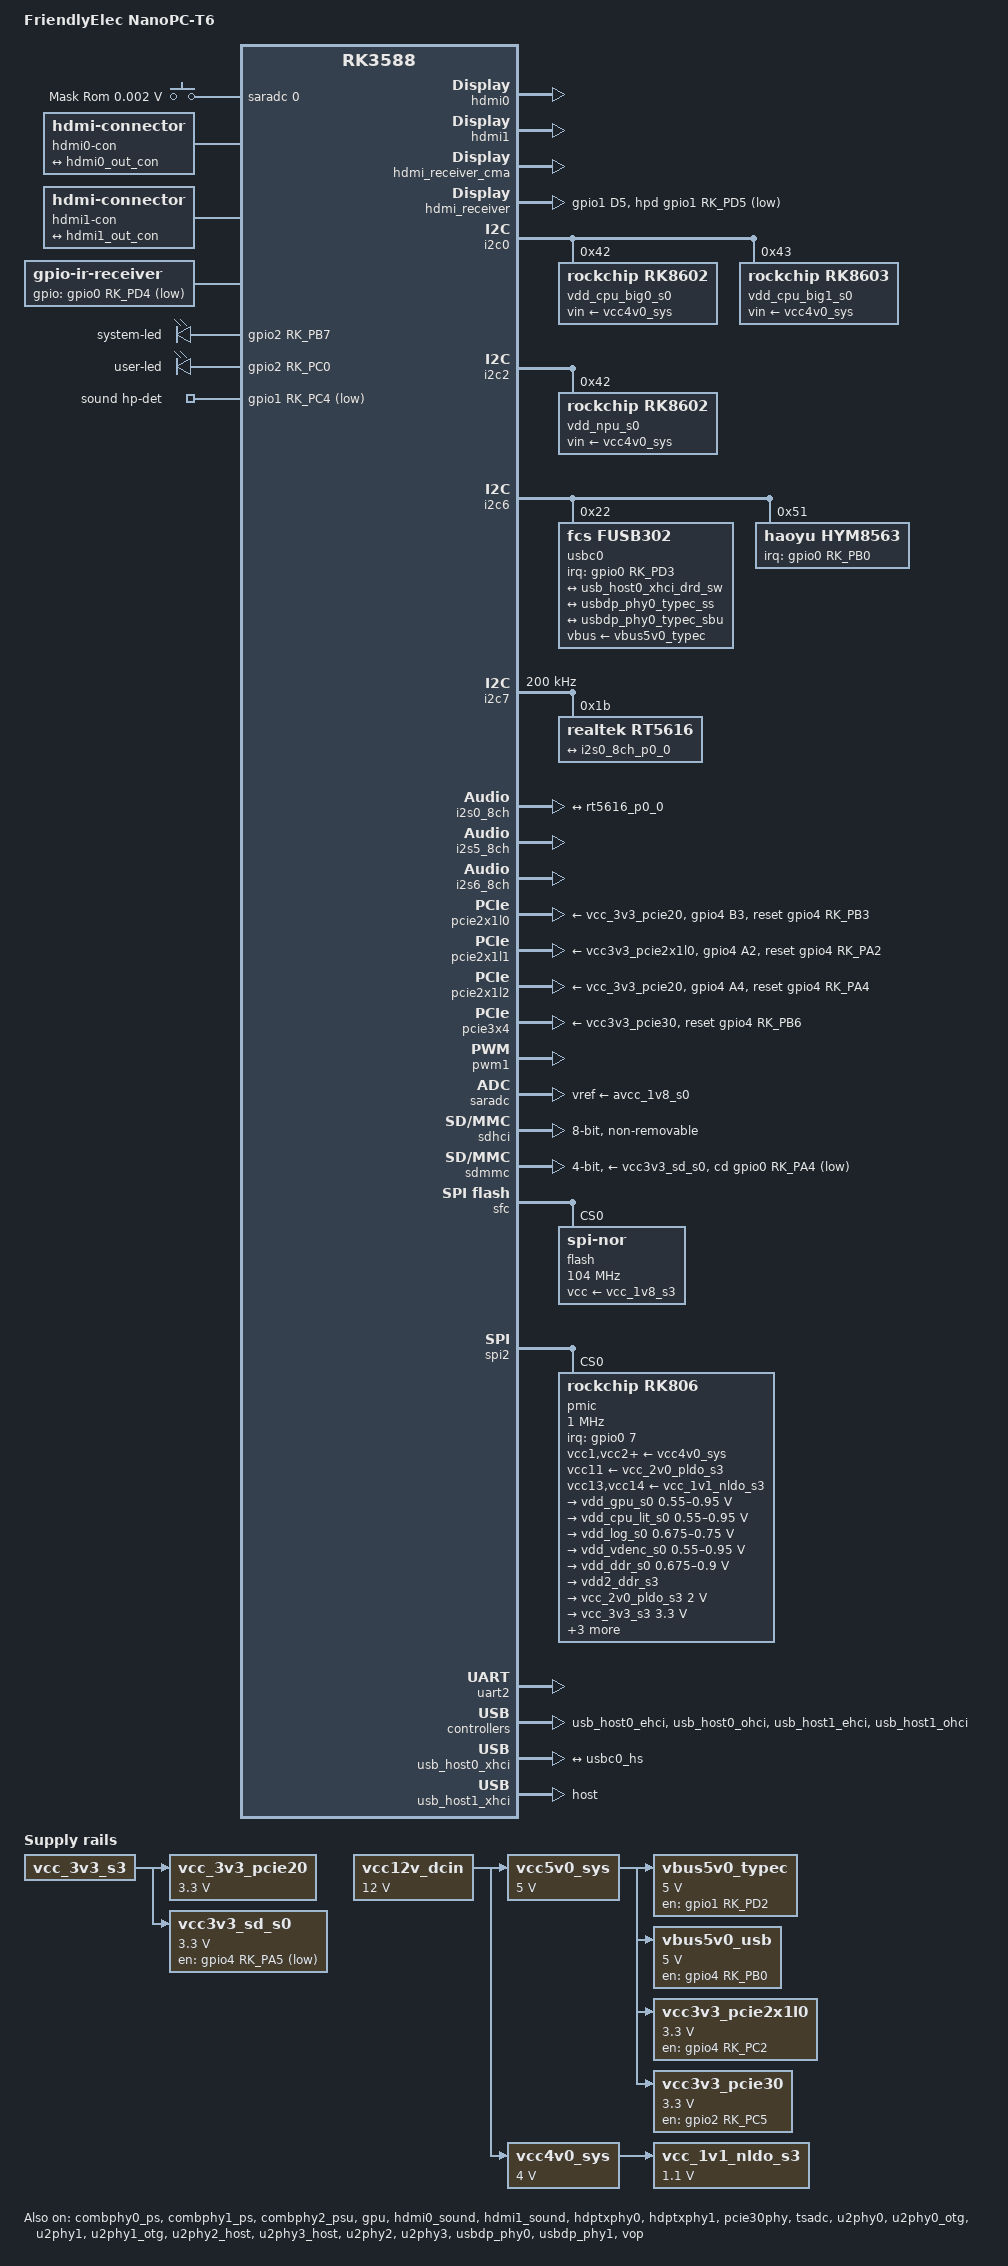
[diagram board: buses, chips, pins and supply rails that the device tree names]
// SPDX-License-Identifier: (GPL-2.0+ OR MIT)
/*
 * Copyright (c) 2021 Rockchip Electronics Co., Ltd.
 * Copyright (c) 2023 Thomas McKahan
 *
 */

/dts-v1/;

#include <dt-bindings/gpio/gpio.h>
#include <dt-bindings/input/input.h>
#include <dt-bindings/pinctrl/rockchip.h>
#include <dt-bindings/soc/rockchip,vop2.h>
#include <dt-bindings/usb/pd.h>
#include "rk3588.dtsi"

/ {
	model = "FriendlyElec NanoPC-T6";
	compatible = "friendlyarm,nanopc-t6", "rockchip,rk3588";

	aliases {
		mmc0 = &sdhci;
		mmc1 = &sdmmc;
	};

	adc-keys-0 {
		compatible = "adc-keys";
		io-channels = <&saradc 0>;
		io-channel-names = "buttons";
		keyup-threshold-microvolt = <1800000>;
		poll-interval = <100>;

		button-maskrom {
			label = "Mask Rom";
			linux,code = <KEY_SETUP>;
			press-threshold-microvolt = <2000>;
		};
	};

	chosen {
		stdout-path = "serial2:1500000n8";
	};

	hdmi0-con {
		compatible = "hdmi-connector";
		type = "a";

		port {
			hdmi0_con_in: endpoint {
				remote-endpoint = <&hdmi0_out_con>;
			};
		};
	};

	hdmi1-con {
		compatible = "hdmi-connector";
		type = "a";

		port {
			hdmi1_con_in: endpoint {
				remote-endpoint = <&hdmi1_out_con>;
			};
		};
	};

	ir-receiver {
		compatible = "gpio-ir-receiver";
		gpios = <&gpio0 RK_PD4 GPIO_ACTIVE_LOW>;
		pinctrl-names = "default";
		pinctrl-0 = <&ir_receiver_pin>;
	};

	leds {
		compatible = "gpio-leds";

		sys_led: led-0 {
			gpios = <&gpio2 RK_PB7 GPIO_ACTIVE_HIGH>;
			label = "system-led";
			linux,default-trigger = "heartbeat";
			pinctrl-names = "default";
			pinctrl-0 = <&sys_led_pin>;
		};

		usr_led: led-1 {
			gpios = <&gpio2 RK_PC0 GPIO_ACTIVE_HIGH>;
			label = "user-led";
			pinctrl-names = "default";
			pinctrl-0 = <&usr_led_pin>;
		};
	};

	sound {
		compatible = "simple-audio-card";
		pinctrl-names = "default";
		pinctrl-0 = <&hp_det>;

		simple-audio-card,name = "realtek,rt5616-codec";
		simple-audio-card,format = "i2s";
		simple-audio-card,mclk-fs = <256>;

		simple-audio-card,hp-det-gpios = <&gpio1 RK_PC4 GPIO_ACTIVE_LOW>;

		simple-audio-card,widgets =
			"Headphone", "Headphones",
			"Microphone", "Microphone Jack";
		simple-audio-card,routing =
			"Headphones", "HPOL",
			"Headphones", "HPOR",
			"MIC1", "Microphone Jack",
			"Microphone Jack", "micbias1";

		simple-audio-card,cpu {
			sound-dai = <&i2s0_8ch>;
		};
		simple-audio-card,codec {
			sound-dai = <&rt5616>;
		};
	};

	vcc12v_dcin: regulator-vcc12v-dcin {
		compatible = "regulator-fixed";
		regulator-name = "vcc12v_dcin";
		regulator-always-on;
		regulator-boot-on;
		regulator-min-microvolt = <12000000>;
		regulator-max-microvolt = <12000000>;
	};

	/* vcc5v0_sys powers peripherals */
	vcc5v0_sys: regulator-vcc5v0-sys {
		compatible = "regulator-fixed";
		regulator-name = "vcc5v0_sys";
		regulator-always-on;
		regulator-boot-on;
		regulator-min-microvolt = <5000000>;
		regulator-max-microvolt = <5000000>;
		vin-supply = <&vcc12v_dcin>;
	};

	/* vcc4v0_sys powers the RK806, RK860's */
	vcc4v0_sys: regulator-vcc4v0-sys {
		compatible = "regulator-fixed";
		regulator-name = "vcc4v0_sys";
		regulator-always-on;
		regulator-boot-on;
		regulator-min-microvolt = <4000000>;
		regulator-max-microvolt = <4000000>;
		vin-supply = <&vcc12v_dcin>;
	};

	vcc_1v1_nldo_s3: regulator-vcc-1v1-nldo-s3 {
		compatible = "regulator-fixed";
		regulator-name = "vcc-1v1-nldo-s3";
		regulator-always-on;
		regulator-boot-on;
		regulator-min-microvolt = <1100000>;
		regulator-max-microvolt = <1100000>;
		vin-supply = <&vcc4v0_sys>;
	};

	vcc_3v3_pcie20: regulator-vcc3v3-pcie20 {
		compatible = "regulator-fixed";
		regulator-name = "vcc_3v3_pcie20";
		regulator-always-on;
		regulator-boot-on;
		regulator-min-microvolt = <3300000>;
		regulator-max-microvolt = <3300000>;
		vin-supply = <&vcc_3v3_s3>;
	};

	vbus5v0_typec: regulator-vbus5v0-typec {
		compatible = "regulator-fixed";
		enable-active-high;
		gpio = <&gpio1 RK_PD2 GPIO_ACTIVE_HIGH>;
		pinctrl-names = "default";
		pinctrl-0 = <&typec5v_pwren>;
		regulator-name = "vbus5v0_typec";
		regulator-min-microvolt = <5000000>;
		regulator-max-microvolt = <5000000>;
		vin-supply = <&vcc5v0_sys>;
	};

	vbus5v0_usb: regulator-vbus5v0-usb {
		compatible = "regulator-fixed";
		enable-active-high;
		gpio = <&gpio4 RK_PB0 GPIO_ACTIVE_HIGH>;
		pinctrl-names = "default";
		pinctrl-0 = <&usb5v_pwren>;
		regulator-name = "vbus5v0_usb";
		regulator-min-microvolt = <5000000>;
		regulator-max-microvolt = <5000000>;
		vin-supply = <&vcc5v0_sys>;
	};

	vcc3v3_pcie2x1l0: regulator-vcc3v3-pcie2x1l0 {
		compatible = "regulator-fixed";
		enable-active-high;
		gpio = <&gpio4 RK_PC2 GPIO_ACTIVE_HIGH>;
		pinctrl-names = "default";
		pinctrl-0 = <&pcie_m2_1_pwren>;
		regulator-name = "vcc3v3_pcie2x1l0";
		regulator-min-microvolt = <3300000>;
		regulator-max-microvolt = <3300000>;
		vin-supply = <&vcc5v0_sys>;
	};

	vcc3v3_pcie30: regulator-vcc3v3-pcie30 {
		compatible = "regulator-fixed";
		enable-active-high;
		gpios = <&gpio2 RK_PC5 GPIO_ACTIVE_HIGH>;
		pinctrl-names = "default";
		pinctrl-0 = <&pcie_m2_0_pwren>;
		regulator-name = "vcc3v3_pcie30";
		regulator-min-microvolt = <3300000>;
		regulator-max-microvolt = <3300000>;
		vin-supply = <&vcc5v0_sys>;
	};

	vcc3v3_sd_s0: regulator-vcc3v3-sd-s0 {
		compatible = "regulator-fixed";
		gpio = <&gpio4 RK_PA5 GPIO_ACTIVE_LOW>;
		regulator-boot-on;
		regulator-max-microvolt = <3300000>;
		regulator-min-microvolt = <3300000>;
		regulator-name = "vcc3v3_sd_s0";
		vin-supply = <&vcc_3v3_s3>;
	};
};

&combphy0_ps {
	status = "okay";
};

&combphy1_ps {
	status = "okay";
};

&combphy2_psu {
	status = "okay";
};

&cpu_l0 {
	cpu-supply = <&vdd_cpu_lit_s0>;
};

&cpu_l1 {
	cpu-supply = <&vdd_cpu_lit_s0>;
};

&cpu_l2 {
	cpu-supply = <&vdd_cpu_lit_s0>;
};

&cpu_l3 {
	cpu-supply = <&vdd_cpu_lit_s0>;
};

&cpu_b0 {
	cpu-supply = <&vdd_cpu_big0_s0>;
};

&cpu_b1 {
	cpu-supply = <&vdd_cpu_big0_s0>;
};

&cpu_b2 {
	cpu-supply = <&vdd_cpu_big1_s0>;
};

&cpu_b3 {
	cpu-supply = <&vdd_cpu_big1_s0>;
};

&gpio0 {
	gpio-line-names = /* GPIO0 A0-A7 */
			  "", "", "", "",
			  "", "", "", "",
			  /* GPIO0 B0-B7 */
			  "", "", "", "",
			  "", "", "", "",
			  /* GPIO0 C0-C7 */
			  "", "", "", "",
			  "HEADER_10", "HEADER_08", "HEADER_32", "",
			  /* GPIO0 D0-D7 */
			  "", "", "", "",
			  "IR receiver [PWM3_IR_M0]", "", "", "";
};

&gpio1 {
	gpio-line-names = /* GPIO1 A0-A7 */
			  "HEADER_27", "HEADER_28", "", "",
			  "", "", "", "HEADER_15",
			  /* GPIO1 B0-B7 */
			  "HEADER_26", "HEADER_21", "HEADER_19", "HEADER_23",
			  "HEADER_24", "HEADER_22", "", "",
			  /* GPIO1 C0-C7 */
			  "", "", "", "",
			  "", "", "", "",
			  /* GPIO1 D0-D7 */
			  "", "", "", "",
			  "", "", "HEADER_05", "HEADER_03";
};

&gpio2 {
	gpio-line-names = /* GPIO2 A0-A7 */
			  "", "", "", "",
			  "", "", "", "",
			  /* GPIO2 B0-B7 */
			  "", "", "", "",
			  "", "", "", "",
			  /* GPIO2 C0-C7 */
			  "", "CSI1_11", "CSI1_12", "",
			  "", "", "", "",
			  /* GPIO2 D0-D7 */
			  "", "", "", "",
			  "", "", "", "";
};

&gpio3 {
	gpio-line-names = /* GPIO3 A0-A7 */
			  "HEADER_35", "HEADER_38", "HEADER_40", "HEADER_36",
			  "HEADER_37", "", "DSI0_12", "",
			  /* GPIO3 B0-B7 */
			  "HEADER_33", "DSI0_10", "HEADER_07", "HEADER_16",
			  "HEADER_18", "HEADER_29", "HEADER_31", "HEADER_12",
			  /* GPIO3 C0-C7 */
			  "DSI0_08", "DSI0_14", "HEADER_11", "HEADER_13",
			  "", "", "", "",
			  /* GPIO3 D0-D7 */
			  "", "", "", "",
			  "", "DSI1_10", "", "";
};

&gpio4 {
	gpio-line-names = /* GPIO4 A0-A7 */
			  "DSI1_08", "DSI1_14", "", "DSI1_12",
			  "", "", "", "",
			  /* GPIO4 B0-B7 */
			  "", "", "", "",
			  "", "", "", "",
			  /* GPIO4 C0-C7 */
			  "", "", "", "",
			  "CSI0_11", "CSI0_12", "", "",
			  /* GPIO4 D0-D7 */
			  "", "", "", "",
			  "", "", "", "";
};

&gpu {
	mali-supply = <&vdd_gpu_s0>;
	status = "okay";
};

&hdmi0 {
	status = "okay";
};

&hdmi0_in {
	hdmi0_in_vp0: endpoint {
		remote-endpoint = <&vp0_out_hdmi0>;
	};
};

&hdmi0_out {
	hdmi0_out_con: endpoint {
		remote-endpoint = <&hdmi0_con_in>;
	};
};

&hdmi0_sound {
	status = "okay";
};

&hdmi1 {
	status = "okay";
};

&hdmi1_in {
	hdmi1_in_vp1: endpoint {
		remote-endpoint = <&vp1_out_hdmi1>;
	};
};

&hdmi1_out {
	hdmi1_out_con: endpoint {
		remote-endpoint = <&hdmi1_con_in>;
	};
};

&hdmi1_sound {
	status = "okay";
};

&hdmi_receiver_cma {
	status = "okay";
};

&hdmi_receiver {
	hpd-gpios = <&gpio1 RK_PD5 GPIO_ACTIVE_LOW>;
	pinctrl-0 = <&hdmim1_rx_cec &hdmim1_rx_hpdin &hdmim1_rx_scl &hdmim1_rx_sda &hdmirx_hpd>;
	pinctrl-names = "default";
	status = "okay";
};

&hdptxphy0 {
	status = "okay";
};

&hdptxphy1 {
	status = "okay";
};

&i2c0 {
	pinctrl-names = "default";
	pinctrl-0 = <&i2c0m2_xfer>;
	status = "okay";

	vdd_cpu_big0_s0: regulator@42 {
		compatible = "rockchip,rk8602";
		reg = <0x42>;
		fcs,suspend-voltage-selector = <1>;
		regulator-name = "vdd_cpu_big0_s0";
		regulator-always-on;
		regulator-boot-on;
		regulator-min-microvolt = <550000>;
		regulator-max-microvolt = <1050000>;
		regulator-ramp-delay = <2300>;
		vin-supply = <&vcc4v0_sys>;

		regulator-state-mem {
			regulator-off-in-suspend;
		};
	};

	vdd_cpu_big1_s0: regulator@43 {
		compatible = "rockchip,rk8603", "rockchip,rk8602";
		reg = <0x43>;
		fcs,suspend-voltage-selector = <1>;
		regulator-name = "vdd_cpu_big1_s0";
		regulator-always-on;
		regulator-boot-on;
		regulator-min-microvolt = <550000>;
		regulator-max-microvolt = <1050000>;
		regulator-ramp-delay = <2300>;
		vin-supply = <&vcc4v0_sys>;

		regulator-state-mem {
			regulator-off-in-suspend;
		};
	};
};

&i2c2 {
	status = "okay";

	vdd_npu_s0: regulator@42 {
		compatible = "rockchip,rk8602";
		reg = <0x42>;
		fcs,suspend-voltage-selector = <1>;
		regulator-name = "vdd_npu_s0";
		regulator-always-on;
		regulator-boot-on;
		regulator-min-microvolt = <550000>;
		regulator-max-microvolt = <950000>;
		regulator-ramp-delay = <2300>;
		vin-supply = <&vcc4v0_sys>;

		regulator-state-mem {
			regulator-off-in-suspend;
		};
	};
};

&i2c6 {
	status = "okay";

	usbc0: usb-typec@22 {
		compatible = "fcs,fusb302";
		reg = <0x22>;
		interrupt-parent = <&gpio0>;
		interrupts = <RK_PD3 IRQ_TYPE_LEVEL_LOW>;
		pinctrl-names = "default";
		pinctrl-0 = <&usbc0_int>;
		vbus-supply = <&vbus5v0_typec>;
		status = "okay";

		connector {
			compatible = "usb-c-connector";
			data-role = "dual";
			label = "USB-C";
			op-sink-microwatt = <1000000>;
			/* fusb302 supports PD Rev 2.0 Ver 1.2 */
			pd-revision = /bits/ 8 <0x2 0x0 0x1 0x2>;
			power-role = "dual";
			sink-pdos = <PDO_FIXED(5000, 3000, PDO_FIXED_USB_COMM)>;
			source-pdos = <PDO_FIXED(5000, 2000, PDO_FIXED_USB_COMM)>;
			try-power-role = "source";
			typec-power-opmode = "1.5A";

			ports {
				#address-cells = <1>;
				#size-cells = <0>;

				port@0 {
					reg = <0>;
					usbc0_hs: endpoint {
						remote-endpoint = <&usb_host0_xhci_drd_sw>;
					};
				};

				port@1 {
					reg = <1>;
					usbc0_ss: endpoint {
						remote-endpoint = <&usbdp_phy0_typec_ss>;
					};
				};

				port@2 {
					reg = <2>;
					usbc0_sbu: endpoint {
						remote-endpoint = <&usbdp_phy0_typec_sbu>;
					};
				};
			};
		};
	};

	hym8563: rtc@51 {
		compatible = "haoyu,hym8563";
		reg = <0x51>;
		#clock-cells = <0>;
		clock-output-names = "hym8563";
		pinctrl-names = "default";
		pinctrl-0 = <&hym8563_int>;
		interrupt-parent = <&gpio0>;
		interrupts = <RK_PB0 IRQ_TYPE_LEVEL_LOW>;
		wakeup-source;
	};
};

&i2c7 {
	clock-frequency = <200000>;
	status = "okay";

	rt5616: codec@1b {
		compatible = "realtek,rt5616";
		reg = <0x1b>;
		clocks = <&cru I2S0_8CH_MCLKOUT>;
		clock-names = "mclk";
		#sound-dai-cells = <0>;
		assigned-clocks = <&cru I2S0_8CH_MCLKOUT>;
		assigned-clock-rates = <12288000>;

		port {
			rt5616_p0_0: endpoint {
				remote-endpoint = <&i2s0_8ch_p0_0>;
			};
		};
	};

	/* connected with MIPI-CSI1 */
};

&i2c8 {
	pinctrl-0 = <&i2c8m2_xfer>;
};

&i2s0_8ch {
	pinctrl-names = "default";
	pinctrl-0 = <&i2s0_lrck
		     &i2s0_mclk
		     &i2s0_sclk
		     &i2s0_sdi0
		     &i2s0_sdo0>;
	status = "okay";

	i2s0_8ch_p0: port {
		i2s0_8ch_p0_0: endpoint {
			dai-format = "i2s";
			mclk-fs = <256>;
			remote-endpoint = <&rt5616_p0_0>;
		};
	};
};

&i2s5_8ch {
	status = "okay";
};

&i2s6_8ch {
	status = "okay";
};

&pcie2x1l0 {
	reset-gpios = <&gpio4 RK_PB3 GPIO_ACTIVE_HIGH>;
	vpcie3v3-supply = <&vcc_3v3_pcie20>;
	pinctrl-names = "default";
	pinctrl-0 = <&pcie2_0_rst>;
	status = "okay";
};

&pcie2x1l1 {
	reset-gpios = <&gpio4 RK_PA2 GPIO_ACTIVE_HIGH>;
	vpcie3v3-supply = <&vcc3v3_pcie2x1l0>;
	pinctrl-names = "default";
	pinctrl-0 = <&pcie2_1_rst>;
	status = "okay";
};

&pcie2x1l2 {
	reset-gpios = <&gpio4 RK_PA4 GPIO_ACTIVE_HIGH>;
	vpcie3v3-supply = <&vcc_3v3_pcie20>;
	pinctrl-names = "default";
	pinctrl-0 = <&pcie2_2_rst>;
	status = "okay";
};

&pcie30phy {
	status = "okay";
};

&pcie3x4 {
	reset-gpios = <&gpio4 RK_PB6 GPIO_ACTIVE_HIGH>;
	vpcie3v3-supply = <&vcc3v3_pcie30>;
	status = "okay";
};

&pd_gpu {
	domain-supply = <&vdd_gpu_s0>;
};

&pinctrl {
	gpio-leds {
		sys_led_pin: sys-led-pin {
			rockchip,pins = <2 RK_PB7 RK_FUNC_GPIO &pcfg_pull_none>;
		};

		usr_led_pin: usr-led-pin {
			rockchip,pins = <2 RK_PC0 RK_FUNC_GPIO &pcfg_pull_none>;
		};
	};

	hdmirx {
		hdmirx_hpd: hdmirx-5v-detection {
			rockchip,pins = <1 RK_PD5 RK_FUNC_GPIO &pcfg_pull_none>;
		};
	};

	headphone {
		hp_det: hp-det {
			rockchip,pins = <1 RK_PC4 RK_FUNC_GPIO &pcfg_pull_none>;
		};
	};

	hym8563 {
		hym8563_int: hym8563-int {
			rockchip,pins = <0 RK_PB0 RK_FUNC_GPIO &pcfg_pull_up>;
		};
	};

	ir-receiver {
		ir_receiver_pin: ir-receiver-pin {
			rockchip,pins = <0 RK_PD4 RK_FUNC_GPIO &pcfg_pull_none>;
		};
	};

	pcie {
		pcie2_0_rst: pcie2-0-rst {
			rockchip,pins = <4 RK_PB3 RK_FUNC_GPIO &pcfg_pull_none>;
		};

		pcie2_1_rst: pcie2-1-rst {
			rockchip,pins = <4 RK_PA2 RK_FUNC_GPIO &pcfg_pull_none>;
		};

		pcie2_2_rst: pcie2-2-rst {
			rockchip,pins = <4 RK_PA4 RK_FUNC_GPIO &pcfg_pull_none>;
		};

		pcie_m2_0_pwren: pcie-m20-pwren {
			rockchip,pins = <2 RK_PC5 RK_FUNC_GPIO &pcfg_pull_none>;
		};

		pcie_m2_1_pwren: pcie-m21-pwren {
			rockchip,pins = <4 RK_PC2 RK_FUNC_GPIO &pcfg_pull_none>;
		};
	};

	usb {
		typec5v_pwren: typec5v-pwren {
			rockchip,pins = <1 RK_PD2 RK_FUNC_GPIO &pcfg_pull_none>;
		};

		usb5v_pwren: usb5v_pwren {
			rockchip,pins = <4 RK_PB0 RK_FUNC_GPIO &pcfg_pull_none>;
		};

		usbc0_int: usbc0-int {
			rockchip,pins = <0 RK_PD3 RK_FUNC_GPIO &pcfg_pull_up>;
		};
	};
};

&pwm1 {
	pinctrl-0 = <&pwm1m1_pins>;
	status = "okay";
};

&saradc {
	vref-supply = <&avcc_1v8_s0>;
	status = "okay";
};

&sdhci {
	bus-width = <8>;
	no-sdio;
	no-sd;
	non-removable;
	max-frequency = <200000000>;
	mmc-hs400-1_8v;
	mmc-hs400-enhanced-strobe;
	status = "okay";
};

&sdmmc {
	bus-width = <4>;
	cap-mmc-highspeed;
	cap-sd-highspeed;
	cd-gpios = <&gpio0 RK_PA4 GPIO_ACTIVE_LOW>;
	disable-wp;
	no-mmc;
	no-sdio;
	sd-uhs-sdr104;
	vmmc-supply = <&vcc3v3_sd_s0>;
	vqmmc-supply = <&vccio_sd_s0>;
	status = "okay";
};

/* optional on non-LTS, populated on LTS version */
&sfc {
	pinctrl-names = "default";
	pinctrl-0 = <&fspim1_pins>;
	status = "okay";

	flash@0 {
		compatible = "jedec,spi-nor";
		reg = <0>;
		spi-max-frequency = <104000000>;
		spi-rx-bus-width = <4>;
		spi-tx-bus-width = <1>;
		vcc-supply = <&vcc_1v8_s3>;
	};
};

&spi2 {
	status = "okay";
	assigned-clocks = <&cru CLK_SPI2>;
	assigned-clock-rates = <200000000>;
	pinctrl-names = "default";
	pinctrl-0 = <&spi2m2_cs0 &spi2m2_pins>;
	num-cs = <1>;

	pmic@0 {
		compatible = "rockchip,rk806";
		spi-max-frequency = <1000000>;
		reg = <0x0>;

		interrupt-parent = <&gpio0>;
		interrupts = <7 IRQ_TYPE_LEVEL_LOW>;

		pinctrl-names = "default";
		pinctrl-0 = <&pmic_pins>, <&rk806_dvs1_null>,
			    <&rk806_dvs2_null>, <&rk806_dvs3_null>;

		system-power-controller;

		vcc1-supply = <&vcc4v0_sys>;
		vcc2-supply = <&vcc4v0_sys>;
		vcc3-supply = <&vcc4v0_sys>;
		vcc4-supply = <&vcc4v0_sys>;
		vcc5-supply = <&vcc4v0_sys>;
		vcc6-supply = <&vcc4v0_sys>;
		vcc7-supply = <&vcc4v0_sys>;
		vcc8-supply = <&vcc4v0_sys>;
		vcc9-supply = <&vcc4v0_sys>;
		vcc10-supply = <&vcc4v0_sys>;
		vcc11-supply = <&vcc_2v0_pldo_s3>;
		vcc12-supply = <&vcc4v0_sys>;
		vcc13-supply = <&vcc_1v1_nldo_s3>;
		vcc14-supply = <&vcc_1v1_nldo_s3>;
		vcca-supply = <&vcc4v0_sys>;

		gpio-controller;
		#gpio-cells = <2>;

		rk806_dvs1_null: dvs1-null-pins {
			pins = "gpio_pwrctrl1";
			function = "pin_fun0";
		};

		rk806_dvs2_null: dvs2-null-pins {
			pins = "gpio_pwrctrl2";
			function = "pin_fun0";
		};

		rk806_dvs3_null: dvs3-null-pins {
			pins = "gpio_pwrctrl3";
			function = "pin_fun0";
		};

		regulators {
			vdd_gpu_s0: vdd_gpu_mem_s0: dcdc-reg1 {
				regulator-boot-on;
				regulator-min-microvolt = <550000>;
				regulator-max-microvolt = <950000>;
				regulator-ramp-delay = <12500>;
				regulator-name = "vdd_gpu_s0";
				regulator-enable-ramp-delay = <400>;

				regulator-state-mem {
					regulator-off-in-suspend;
				};
			};

			vdd_cpu_lit_s0: vdd_cpu_lit_mem_s0: dcdc-reg2 {
				regulator-always-on;
				regulator-boot-on;
				regulator-min-microvolt = <550000>;
				regulator-max-microvolt = <950000>;
				regulator-ramp-delay = <12500>;
				regulator-name = "vdd_cpu_lit_s0";

				regulator-state-mem {
					regulator-off-in-suspend;
				};
			};

			vdd_log_s0: dcdc-reg3 {
				regulator-always-on;
				regulator-boot-on;
				regulator-min-microvolt = <675000>;
				regulator-max-microvolt = <750000>;
				regulator-ramp-delay = <12500>;
				regulator-name = "vdd_log_s0";

				regulator-state-mem {
					regulator-off-in-suspend;
					regulator-suspend-microvolt = <750000>;
				};
			};

			vdd_vdenc_s0: vdd_vdenc_mem_s0: dcdc-reg4 {
				regulator-always-on;
				regulator-boot-on;
				regulator-min-microvolt = <550000>;
				regulator-max-microvolt = <950000>;
				regulator-ramp-delay = <12500>;
				regulator-name = "vdd_vdenc_s0";

				regulator-state-mem {
					regulator-off-in-suspend;
				};
			};

			vdd_ddr_s0: dcdc-reg5 {
				regulator-always-on;
				regulator-boot-on;
				regulator-min-microvolt = <675000>;
				regulator-max-microvolt = <900000>;
				regulator-ramp-delay = <12500>;
				regulator-name = "vdd_ddr_s0";

				regulator-state-mem {
					regulator-off-in-suspend;
					regulator-suspend-microvolt = <850000>;
				};
			};

			vdd2_ddr_s3: dcdc-reg6 {
				regulator-always-on;
				regulator-boot-on;
				regulator-name = "vdd2_ddr_s3";

				regulator-state-mem {
					regulator-on-in-suspend;
				};
			};

			vcc_2v0_pldo_s3: dcdc-reg7 {
				regulator-always-on;
				regulator-boot-on;
				regulator-min-microvolt = <2000000>;
				regulator-max-microvolt = <2000000>;
				regulator-ramp-delay = <12500>;
				regulator-name = "vdd_2v0_pldo_s3";

				regulator-state-mem {
					regulator-on-in-suspend;
					regulator-suspend-microvolt = <2000000>;
				};
			};

			vcc_3v3_s3: dcdc-reg8 {
				regulator-always-on;
				regulator-boot-on;
				regulator-min-microvolt = <3300000>;
				regulator-max-microvolt = <3300000>;
				regulator-name = "vcc_3v3_s3";

				regulator-state-mem {
					regulator-on-in-suspend;
					regulator-suspend-microvolt = <3300000>;
				};
			};

			vddq_ddr_s0: dcdc-reg9 {
				regulator-always-on;
				regulator-boot-on;
				regulator-name = "vddq_ddr_s0";

				regulator-state-mem {
					regulator-off-in-suspend;
				};
			};

			vcc_1v8_s3: dcdc-reg10 {
				regulator-always-on;
				regulator-boot-on;
				regulator-min-microvolt = <1800000>;
				regulator-max-microvolt = <1800000>;
				regulator-name = "vcc_1v8_s3";

				regulator-state-mem {
					regulator-on-in-suspend;
					regulator-suspend-microvolt = <1800000>;
				};
			};

			avcc_1v8_s0: pldo-reg1 {
				regulator-always-on;
				regulator-boot-on;
				regulator-min-microvolt = <1800000>;
				regulator-max-microvolt = <1800000>;
				regulator-name = "avcc_1v8_s0";

				regulator-state-mem {
					regulator-off-in-suspend;
				};
			};

			vcc_1v8_s0: pldo-reg2 {
				regulator-always-on;
				regulator-boot-on;
				regulator-min-microvolt = <1800000>;
				regulator-max-microvolt = <1800000>;
				regulator-name = "vcc_1v8_s0";

				regulator-state-mem {
					regulator-off-in-suspend;
					regulator-suspend-microvolt = <1800000>;
				};
			};

			avdd_1v2_s0: pldo-reg3 {
				regulator-always-on;
				regulator-boot-on;
				regulator-min-microvolt = <1200000>;
				regulator-max-microvolt = <1200000>;
				regulator-name = "avdd_1v2_s0";

				regulator-state-mem {
					regulator-off-in-suspend;
				};
			};

			vcc_3v3_s0: pldo-reg4 {
				regulator-always-on;
				regulator-boot-on;
				regulator-min-microvolt = <3300000>;
				regulator-max-microvolt = <3300000>;
				regulator-ramp-delay = <12500>;
				regulator-name = "vcc_3v3_s0";

				regulator-state-mem {
					regulator-off-in-suspend;
				};
			};

			vccio_sd_s0: pldo-reg5 {
				regulator-always-on;
				regulator-boot-on;
				regulator-min-microvolt = <1800000>;
				regulator-max-microvolt = <3300000>;
				regulator-ramp-delay = <12500>;
				regulator-name = "vccio_sd_s0";

				regulator-state-mem {
					regulator-off-in-suspend;
				};
			};

			pldo6_s3: pldo-reg6 {
				regulator-always-on;
				regulator-boot-on;
				regulator-min-microvolt = <1800000>;
				regulator-max-microvolt = <1800000>;
				regulator-name = "pldo6_s3";

				regulator-state-mem {
					regulator-on-in-suspend;
					regulator-suspend-microvolt = <1800000>;
				};
			};

			vdd_0v75_s3: nldo-reg1 {
				regulator-always-on;
				regulator-boot-on;
				regulator-min-microvolt = <750000>;
				regulator-max-microvolt = <750000>;
				regulator-name = "vdd_0v75_s3";

				regulator-state-mem {
					regulator-on-in-suspend;
					regulator-suspend-microvolt = <750000>;
				};
			};

			vdd_ddr_pll_s0: nldo-reg2 {
				regulator-always-on;
				regulator-boot-on;
				regulator-min-microvolt = <850000>;
				regulator-max-microvolt = <850000>;
				regulator-name = "vdd_ddr_pll_s0";

				regulator-state-mem {
					regulator-off-in-suspend;
					regulator-suspend-microvolt = <850000>;
				};
			};

			avdd_0v75_s0: nldo-reg3 {
				regulator-always-on;
				regulator-boot-on;
				regulator-min-microvolt = <750000>;
				regulator-max-microvolt = <750000>;
				regulator-name = "avdd_0v75_s0";

				regulator-state-mem {
					regulator-off-in-suspend;
				};
			};

			vdd_0v85_s0: nldo-reg4 {
				regulator-always-on;
				regulator-boot-on;
				regulator-min-microvolt = <850000>;
				regulator-max-microvolt = <850000>;
				regulator-name = "vdd_0v85_s0";

				regulator-state-mem {
					regulator-off-in-suspend;
				};
			};

			vdd_0v75_s0: nldo-reg5 {
				regulator-always-on;
				regulator-boot-on;
				regulator-min-microvolt = <750000>;
				regulator-max-microvolt = <750000>;
				regulator-name = "vdd_0v75_s0";

				regulator-state-mem {
					regulator-off-in-suspend;
				};
			};
		};
	};
};

&tsadc {
	status = "okay";
};

&uart2 {
	pinctrl-0 = <&uart2m0_xfer>;
	status = "okay";
};

&u2phy0 {
	status = "okay";
};

&u2phy0_otg {
	status = "okay";
};

&u2phy1 {
	status = "okay";
};

&u2phy1_otg {
	status = "okay";
};

&u2phy2_host {
	status = "okay";
};

&u2phy3_host {
	status = "okay";
};

&u2phy2 {
	status = "okay";
};

&u2phy3 {
	status = "okay";
};

&usbdp_phy0 {
	mode-switch;
	orientation-switch;
	sbu1-dc-gpios = <&gpio4 RK_PA6 GPIO_ACTIVE_HIGH>;
	sbu2-dc-gpios = <&gpio4 RK_PA7 GPIO_ACTIVE_HIGH>;
	status = "okay";

	port {
		#address-cells = <1>;
		#size-cells = <0>;

		usbdp_phy0_typec_ss: endpoint@0 {
			reg = <0>;
			remote-endpoint = <&usbc0_ss>;
		};

		usbdp_phy0_typec_sbu: endpoint@1 {
			reg = <1>;
			remote-endpoint = <&usbc0_sbu>;
		};
	};
};

&usbdp_phy1 {
	phy-supply = <&vbus5v0_usb>;
	status = "okay";
};

&usb_host0_ehci {
	status = "okay";
};

&usb_host0_ohci {
	status = "okay";
};

&usb_host0_xhci {
	usb-role-switch;
	status = "okay";

	port {
		usb_host0_xhci_drd_sw: endpoint {
			remote-endpoint = <&usbc0_hs>;
		};
	};
};

&usb_host1_xhci {
	dr_mode = "host";
	status = "okay";
};

&usb_host1_ehci {
	status = "okay";
};

&usb_host1_ohci {
	status = "okay";
};

&vop_mmu {
	status = "okay";
};

&vop {
	status = "okay";
};

&vp0 {
	vp0_out_hdmi0: endpoint@ROCKCHIP_VOP2_EP_HDMI0 {
		reg = <ROCKCHIP_VOP2_EP_HDMI0>;
		remote-endpoint = <&hdmi0_in_vp0>;
	};
};

&vp1 {
	vp1_out_hdmi1: endpoint@ROCKCHIP_VOP2_EP_HDMI1 {
		reg = <ROCKCHIP_VOP2_EP_HDMI1>;
		remote-endpoint = <&hdmi1_in_vp1>;
	};
};
